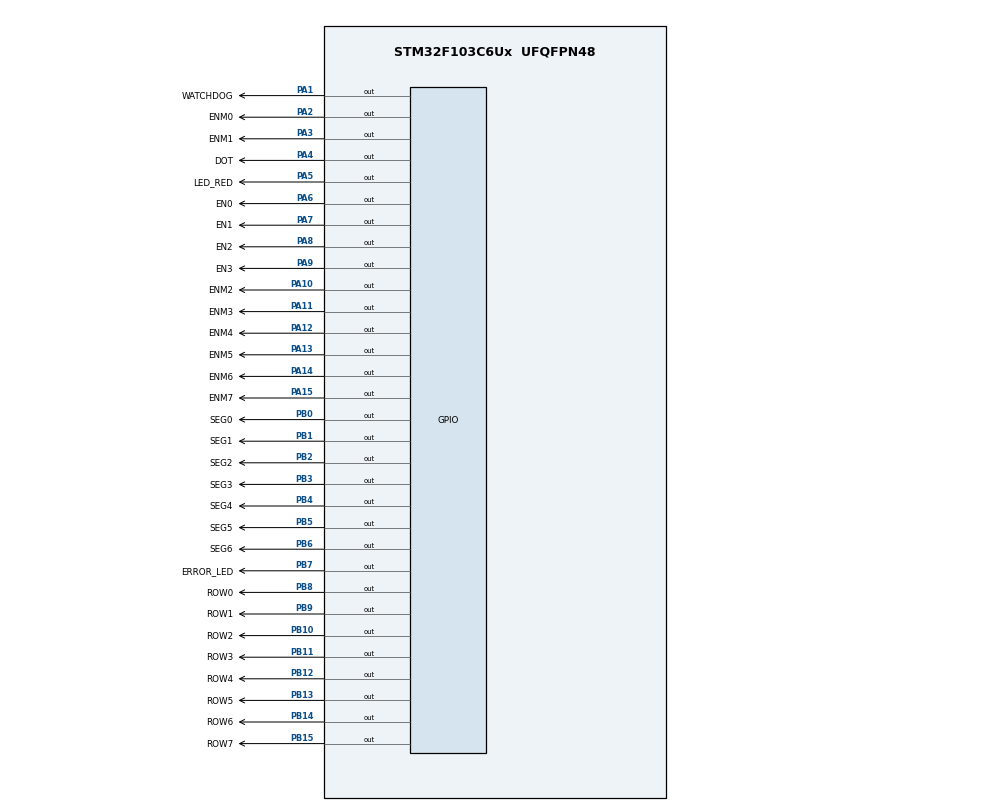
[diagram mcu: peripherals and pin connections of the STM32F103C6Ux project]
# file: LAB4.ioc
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IWDG.Prescaler=IWDG_PRESCALER_256
IWDG.Reload=312
Mcu.Family=STM32F1
Mcu.Name=STM32F103C6Ux
Mcu.Package=UFQFPN48
NVIC.PriorityGroup=NVIC_PRIORITYGROUP_4
NVIC.TIM2_IRQn=true\:0\:0\:false\:false\:true\:true\:true
PA1.GPIO_Label=WATCHDOG
PA1.Signal=GPIO_Output
PA10.GPIO_Label=ENM2
PA10.Signal=GPIO_Output
PA11.GPIO_Label=ENM3
PA11.Signal=GPIO_Output
PA12.GPIO_Label=ENM4
PA12.Signal=GPIO_Output
PA13.GPIO_Label=ENM5
PA13.Signal=GPIO_Output
PA14.GPIO_Label=ENM6
PA14.Signal=GPIO_Output
PA15.GPIO_Label=ENM7
PA15.Signal=GPIO_Output
PA2.GPIO_Label=ENM0
PA2.Signal=GPIO_Output
PA3.GPIO_Label=ENM1
PA3.Signal=GPIO_Output
PA4.GPIO_Label=DOT
PA4.Signal=GPIO_Output
PA5.GPIO_Label=LED_RED
PA5.Signal=GPIO_Output
PA6.GPIO_Label=EN0
PA6.Signal=GPIO_Output
PA7.GPIO_Label=EN1
PA7.Signal=GPIO_Output
PA8.GPIO_Label=EN2
PA8.Signal=GPIO_Output
PA9.GPIO_Label=EN3
PA9.Signal=GPIO_Output
PB0.GPIO_Label=SEG0
PB0.Signal=GPIO_Output
PB1.GPIO_Label=SEG1
PB1.Signal=GPIO_Output
PB10.GPIO_Label=ROW2
PB10.Signal=GPIO_Output
PB11.GPIO_Label=ROW3
PB11.Signal=GPIO_Output
PB12.GPIO_Label=ROW4
PB12.Signal=GPIO_Output
PB13.GPIO_Label=ROW5
PB13.Signal=GPIO_Output
PB14.GPIO_Label=ROW6
PB14.Signal=GPIO_Output
PB15.GPIO_Label=ROW7
PB15.Signal=GPIO_Output
PB2.GPIO_Label=SEG2
PB2.Signal=GPIO_Output
PB3.GPIO_Label=SEG3
PB3.Signal=GPIO_Output
PB4.GPIO_Label=SEG4
PB4.Signal=GPIO_Output
PB5.GPIO_Label=SEG5
PB5.Signal=GPIO_Output
PB6.GPIO_Label=SEG6
PB6.Signal=GPIO_Output
PB7.GPIO_Label=ERROR_LED
PB7.Signal=GPIO_Output
PB8.GPIO_Label=ROW0
PB8.Signal=GPIO_Output
PB9.GPIO_Label=ROW1
PB9.Signal=GPIO_Output
ProjectManager.HeapSize=0x200
ProjectManager.StackSize=0x400
ProjectManager.TargetToolchain=STM32CubeIDE
RCC.APB1Freq_Value=8000000
RCC.APB2Freq_Value=8000000
TIM2.Period=9
TIM2.Prescaler=7999
VP_IWDG_VS_IWDG.Mode=IWDG_Activate
VP_SYS_VS_ND.Mode=No_Debug
VP_TIM2_VS_ClockSourceINT.Mode=Internal
board=custom

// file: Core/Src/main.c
/* USER CODE BEGIN Header */
/**
  ******************************************************************************
  * @file           : main.c
  * @brief          : Main program body
  ******************************************************************************
  * @attention
  *
  * <h2><center>&copy; Copyright (c) 2026 STMicroelectronics.
  * All rights reserved.</center></h2>
  *
  * This software component is licensed by ST under BSD 3-Clause license,
  * the "License"; You may not use this file except in compliance with the
  * License. You may obtain a copy of the License at:
  *                        opensource.org/licenses/BSD-3-Clause
  *
  ******************************************************************************
  */
/* USER CODE END Header */
#include "main.h"

void SystemClock_Config(void);
static void MX_GPIO_Init(void);
static void MX_TIM2_Init(void);
static void MX_IWDG_Init(void);

int main(void)
{

  /* MCU Configuration--------------------------------------------------------*/

  /* Reset of all peripherals, Initializes the Flash interface and the Systick. */
  HAL_Init();

  /* Configure the system clock */
  SystemClock_Config();

  /* Initialize all configured peripherals */
  MX_GPIO_Init();
  MX_TIM2_Init();
  MX_IWDG_Init();
  /* USER CODE BEGIN 2 */
  mainInit();
  mainTask();
  /* USER CODE END 2 */

  /* Infinite loop */
  while (1)
  {

    /* USER CODE BEGIN 3 */
	  SCH_DispatchTasks();
  }
  /* USER CODE END 3 */
}

void SystemClock_Config(void)
{
  RCC_OscInitTypeDef RCC_OscInitStruct = {0};
  RCC_ClkInitTypeDef RCC_ClkInitStruct = {0};

  /** Initializes the RCC Oscillators according to the specified parameters
  * in the RCC_OscInitTypeDef structure.
  */
  RCC_OscInitStruct.OscillatorType = RCC_OSCILLATORTYPE_HSI|RCC_OSCILLATORTYPE_LSI;
  RCC_OscInitStruct.HSIState = RCC_HSI_ON;
  RCC_OscInitStruct.HSICalibrationValue = RCC_HSICALIBRATION_DEFAULT;
  RCC_OscInitStruct.LSIState = RCC_LSI_ON;
  RCC_OscInitStruct.PLL.PLLState = RCC_PLL_NONE;
  if (HAL_RCC_OscConfig(&RCC_OscInitStruct) != HAL_OK)
  {
    Error_Handler();
  }
  /** Initializes the CPU, AHB and APB buses clocks
  */
  RCC_ClkInitStruct.ClockType = RCC_CLOCKTYPE_HCLK|RCC_CLOCKTYPE_SYSCLK
                              |RCC_CLOCKTYPE_PCLK1|RCC_CLOCKTYPE_PCLK2;
  RCC_ClkInitStruct.SYSCLKSource = RCC_SYSCLKSOURCE_HSI;
  RCC_ClkInitStruct.AHBCLKDivider = RCC_SYSCLK_DIV1;
  RCC_ClkInitStruct.APB1CLKDivider = RCC_HCLK_DIV1;
  RCC_ClkInitStruct.APB2CLKDivider = RCC_HCLK_DIV1;

  if (HAL_RCC_ClockConfig(&RCC_ClkInitStruct, FLASH_LATENCY_0) != HAL_OK)
  {
    Error_Handler();
  }
}

static void MX_IWDG_Init(void)
{

  hiwdg.Instance = IWDG;
  hiwdg.Init.Prescaler = IWDG_PRESCALER_256;
  hiwdg.Init.Reload = 312;
  if (HAL_IWDG_Init(&hiwdg) != HAL_OK)
  {
    Error_Handler();
  }

}

static void MX_TIM2_Init(void)
{

  TIM_ClockConfigTypeDef sClockSourceConfig = {0};
  TIM_MasterConfigTypeDef sMasterConfig = {0};

  htim2.Instance = TIM2;
  htim2.Init.Prescaler = 7999;
  htim2.Init.CounterMode = TIM_COUNTERMODE_UP;
  htim2.Init.Period = 9;
  htim2.Init.ClockDivision = TIM_CLOCKDIVISION_DIV1;
  htim2.Init.AutoReloadPreload = TIM_AUTORELOAD_PRELOAD_DISABLE;
  if (HAL_TIM_Base_Init(&htim2) != HAL_OK)
  {
    Error_Handler();
  }
  sClockSourceConfig.ClockSource = TIM_CLOCKSOURCE_INTERNAL;
  if (HAL_TIM_ConfigClockSource(&htim2, &sClockSourceConfig) != HAL_OK)
  {
    Error_Handler();
  }
  sMasterConfig.MasterOutputTrigger = TIM_TRGO_RESET;
  sMasterConfig.MasterSlaveMode = TIM_MASTERSLAVEMODE_DISABLE;
  if (HAL_TIMEx_MasterConfigSynchronization(&htim2, &sMasterConfig) != HAL_OK)
  {
    Error_Handler();
  }

}

static void MX_GPIO_Init(void)
{
  GPIO_InitTypeDef GPIO_InitStruct = {0};

  /* GPIO Ports Clock Enable */
  __HAL_RCC_GPIOA_CLK_ENABLE();
  __HAL_RCC_GPIOB_CLK_ENABLE();

  /*Configure GPIO pin Output Level */
  HAL_GPIO_WritePin(GPIOA, WATCHDOG_Pin|ENM0_Pin|ENM1_Pin|DOT_Pin
                          |LED_RED_Pin|EN0_Pin|EN1_Pin|EN2_Pin
                          |EN3_Pin|ENM2_Pin|ENM3_Pin|ENM4_Pin
                          |ENM5_Pin|ENM6_Pin|ENM7_Pin, GPIO_PIN_RESET);

  /*Configure GPIO pin Output Level */
  HAL_GPIO_WritePin(GPIOB, SEG0_Pin|SEG1_Pin|SEG2_Pin|ROW2_Pin
                          |ROW3_Pin|ROW4_Pin|ROW5_Pin|ROW6_Pin
                          |ROW7_Pin|SEG3_Pin|SEG4_Pin|SEG5_Pin
                          |SEG6_Pin|ERROR_LED_Pin|ROW0_Pin|ROW1_Pin, GPIO_PIN_RESET);

  /*Configure GPIO pins : WATCHDOG_Pin ENM0_Pin ENM1_Pin DOT_Pin
                           LED_RED_Pin EN0_Pin EN1_Pin EN2_Pin
                           EN3_Pin ENM2_Pin ENM3_Pin ENM4_Pin
                           ENM5_Pin ENM6_Pin ENM7_Pin */
  GPIO_InitStruct.Pin = WATCHDOG_Pin|ENM0_Pin|ENM1_Pin|DOT_Pin
                          |LED_RED_Pin|EN0_Pin|EN1_Pin|EN2_Pin
                          |EN3_Pin|ENM2_Pin|ENM3_Pin|ENM4_Pin
                          |ENM5_Pin|ENM6_Pin|ENM7_Pin;
  GPIO_InitStruct.Mode = GPIO_MODE_OUTPUT_PP;
  GPIO_InitStruct.Pull = GPIO_NOPULL;
  GPIO_InitStruct.Speed = GPIO_SPEED_FREQ_LOW;
  HAL_GPIO_Init(GPIOA, &GPIO_InitStruct);

  /*Configure GPIO pins : SEG0_Pin SEG1_Pin SEG2_Pin ROW2_Pin
                           ROW3_Pin ROW4_Pin ROW5_Pin ROW6_Pin
                           ROW7_Pin SEG3_Pin SEG4_Pin SEG5_Pin
                           SEG6_Pin ERROR_LED_Pin ROW0_Pin ROW1_Pin */
  GPIO_InitStruct.Pin = SEG0_Pin|SEG1_Pin|SEG2_Pin|ROW2_Pin
                          |ROW3_Pin|ROW4_Pin|ROW5_Pin|ROW6_Pin
                          |ROW7_Pin|SEG3_Pin|SEG4_Pin|SEG5_Pin
                          |SEG6_Pin|ERROR_LED_Pin|ROW0_Pin|ROW1_Pin;
  GPIO_InitStruct.Mode = GPIO_MODE_OUTPUT_PP;
  GPIO_InitStruct.Pull = GPIO_NOPULL;
  GPIO_InitStruct.Speed = GPIO_SPEED_FREQ_LOW;
  HAL_GPIO_Init(GPIOB, &GPIO_InitStruct);

}

/* USER CODE BEGIN 4 */
void HAL_TIM_PeriodElapsedCallback(TIM_HandleTypeDef *htim){
	if (htim->Instance == TIM2){
		SCH_Update();
		errorRun();
	}
}

void mainInit(){
	clockInit(15, 8, 50);
	SCH_Init();
	errorInit();
	watchDogInit();
}
void mainTask(){
	SCH_AddTask(ledBlinking, 2000, 2000);
	SCH_AddTask(dotBlinking, 1000, 1000);
	SCH_AddTask(updateClockBuffer,0,1000);
	SCH_AddTask(updateClock, 1000, 1000);
	SCH_AddTask(update7SEGIndex,250,250);
	SCH_AddTask(update7SEGBuffer,0,250);
	SCH_AddTask(updateFrame, 800, 800);
	SCH_AddTask(updateIndex, 100, 100);
	SCH_AddTask(updateMatrixBuffer,0,0);
	SCH_AddTask(watchDogRefresh,10,100);
}
/* USER CODE END 4 */

void Error_Handler(void)
{
  __disable_irq();
  while (1)
  {
  }
}

/************************ (C) COPYRIGHT STMicroelectronics *****END OF FILE****/
